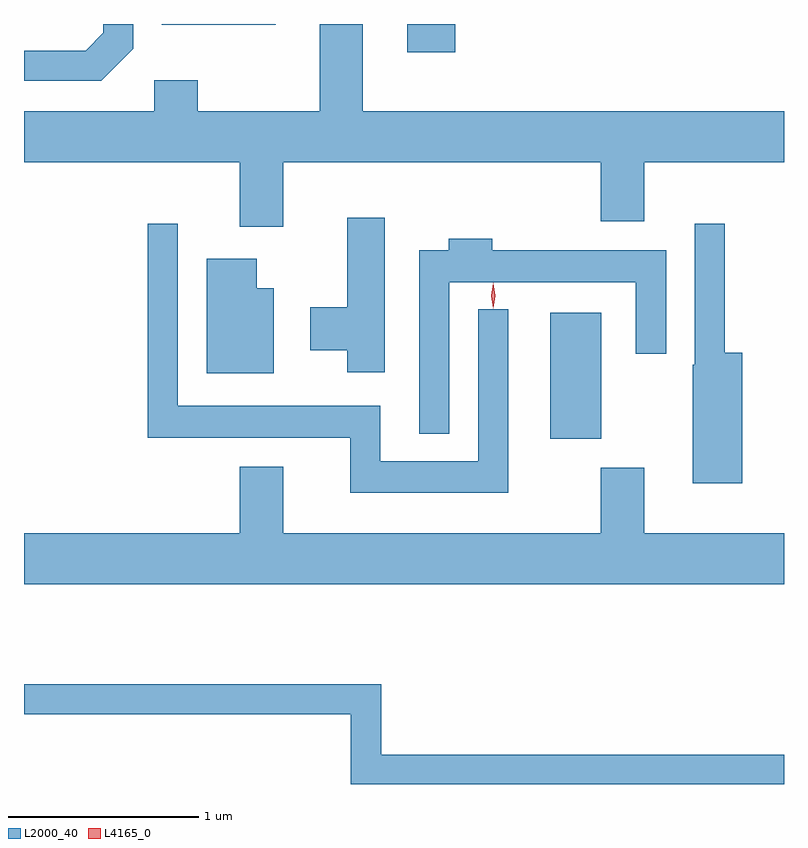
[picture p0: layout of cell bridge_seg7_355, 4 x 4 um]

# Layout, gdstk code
import gdstk
lib = gdstk.Library(unit=1e-6, precision=1e-09)
def R(c, l, rs):  # rectangles x0, y0, x1, y1
    for r in rs: c.add(gdstk.rectangle(r[:2], r[2:], *l))
def P(c, l, *ps):  # polygons
    for p in ps: c.add(gdstk.Polygon(p, *l))
L2000_40 = (2000, 40)
L4165_0 = (4165, 0)

bridge_seg7_355 = lib.new_cell('bridge_seg7_355')
R(bridge_seg7_355, L2000_40, [(1159.126,1768.361,1159.394,1769.024), (1158.371,1770.396,1158.624,1770.544), (1157.081,1770.541,1157.679,1770.544)])
P(bridge_seg7_355, L2000_40, [(1157.719,1769.816),(1159.391,1769.816),(1159.391,1769.506),(1159.619,1769.506),(1159.619,1769.816),(1160.355,1769.816),(1160.355,1770.084),(1158.139,1770.084),(1158.139,1770.544),(1157.911,1770.544),(1157.911,1770.084),(1157.269,1770.084),(1157.269,1770.249),(1157.041,1770.249),(1157.041,1770.084),(1156.355,1770.084),(1156.355,1769.816),(1157.491,1769.816),(1157.491,1769.476),(1157.719,1769.476)],
  [(1156.929,1770.414),(1156.929,1770.544),(1156.771,1770.544),(1156.771,1770.497),(1156.679,1770.404),(1156.355,1770.404),(1156.355,1770.246),(1156.762,1770.246)],
  [(1158.254,1769.524),(1158.056,1769.524),(1158.056,1769.054),(1157.861,1769.054),(1157.861,1768.826),(1158.056,1768.826),(1158.056,1768.711),(1158.254,1768.711)],
  [(1158.904,1769.043),(1158.746,1769.043),(1158.746,1768.244),(1158.229,1768.244),(1158.229,1768.534),(1157.164,1768.534),(1157.164,1769.493),(1157.006,1769.493),(1157.006,1768.366),(1158.071,1768.366),(1158.071,1768.076),(1158.904,1768.076)],
  [(1160.134,1768.814),(1160.044,1768.814),(1160.044,1769.493),(1159.886,1769.493),(1159.886,1768.75),(1159.876,1768.75),(1159.876,1768.126),(1160.134,1768.126)],
  [(1158.594,1769.186),(1159.576,1769.186),(1159.576,1768.808),(1159.734,1768.808),(1159.734,1769.354),(1158.819,1769.354),(1158.819,1769.414),(1158.591,1769.414),(1158.591,1769.354),(1158.436,1769.354),(1158.436,1768.388),(1158.594,1768.388)],
  [(1157.669,1769.154),(1157.579,1769.154),(1157.579,1769.309),(1157.316,1769.309),(1157.316,1768.706),(1157.669,1768.706)],
  [(1160.355,1767.864),(1159.619,1767.864),(1159.619,1768.209),(1159.391,1768.209),(1159.391,1767.864),(1157.719,1767.864),(1157.719,1768.214),(1157.491,1768.214),(1157.491,1767.864),(1156.355,1767.864),(1156.355,1767.596),(1160.355,1767.596)],
  [(1160.355,1766.699),(1158.234,1766.699),(1158.234,1767.069),(1156.355,1767.069),(1156.355,1766.911),(1158.076,1766.911),(1158.076,1766.544),(1160.355,1766.544)])
P(bridge_seg7_355, L4165_0, [(1158.825,1769.047),(1158.824,1769.048),(1158.815,1769.114),(1158.824,1769.18),(1158.825,1769.181),(1158.825,1769.18),(1158.835,1769.114),(1158.825,1769.048)])

lib.write_gds('bridge_seg7_355.gds')
